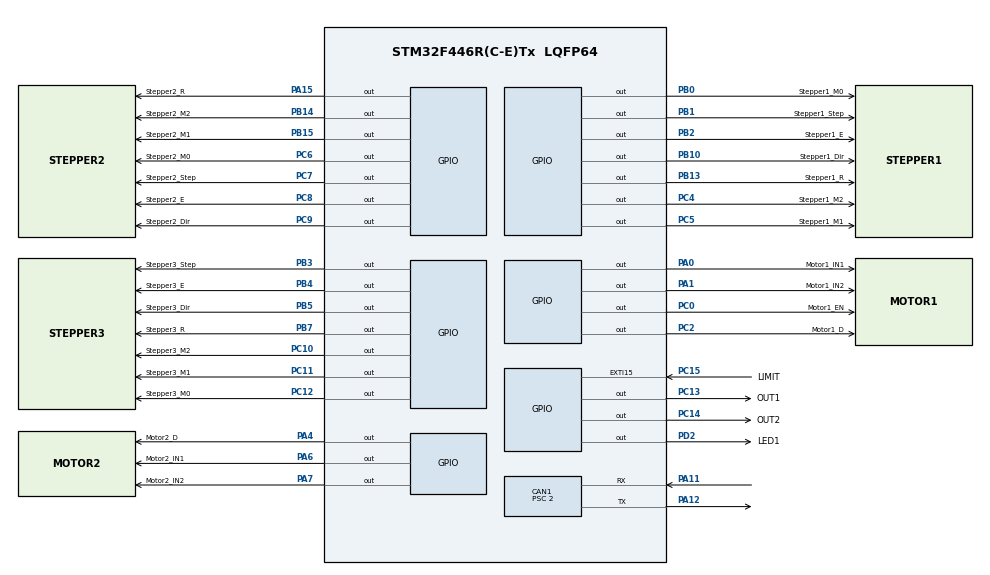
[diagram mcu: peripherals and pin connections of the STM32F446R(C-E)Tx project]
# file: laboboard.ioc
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CAN1.BS1=CAN_BS1_13TQ
CAN1.BS2=CAN_BS2_2TQ
CAN1.CalculateBaudRate=500000
CAN1.CalculateTimeBit=2000
CAN1.CalculateTimeQuantum=125.0
CAN1.NART=ENABLE
CAN1.Prescaler=2
Mcu.Family=STM32F4
Mcu.Name=STM32F446R(C-E)Tx
Mcu.Package=LQFP64
NVIC.CAN1_RX0_IRQn=true\:0\:0\:false\:false\:true\:true\:true\:true
NVIC.CAN1_RX1_IRQn=true\:0\:0\:false\:false\:true\:true\:true\:true
NVIC.CAN1_TX_IRQn=true\:0\:0\:false\:false\:true\:true\:true\:true
NVIC.EXTI15_10_IRQn=true\:3\:0\:true\:false\:true\:true\:true\:true
NVIC.PriorityGroup=NVIC_PRIORITYGROUP_4
NVIC.TIM2_IRQn=true\:0\:0\:false\:false\:true\:true\:true\:true
NVIC.TIM3_IRQn=true\:0\:0\:false\:false\:true\:true\:true\:true
NVIC.TIM4_IRQn=true\:0\:0\:false\:false\:true\:true\:true\:true
NVIC.TIM7_IRQn=true\:0\:0\:false\:false\:true\:true\:true\:true
PA0-WKUP.GPIO_Label=Motor1_IN1
PA0-WKUP.Signal=GPIO_Output
PA1.GPIO_Label=Motor1_IN2
PA1.Signal=GPIO_Output
PA11.Mode=CAN_Activate
PA11.Signal=CAN1_RX
PA12.Mode=CAN_Activate
PA12.Signal=CAN1_TX
PA15.GPIO_Label=Stepper2_R
PA15.Signal=GPIO_Output
PA2.GPIO_Label=Motor2_EN
PA2.Signal=S_TIM2_CH3
PA4.GPIO_Label=Motor2_D
PA4.Signal=GPIO_Output
PA6.GPIO_Label=Motor2_IN1
PA6.Signal=GPIO_Output
PA7.GPIO_Label=Motor2_IN2
PA7.Signal=GPIO_Output
PB0.GPIO_Label=Stepper1_M0
PB0.Signal=GPIO_Output
PB1.GPIO_Label=Stepper1_Step
PB1.PinState=GPIO_PIN_SET
PB1.Signal=GPIO_Output
PB10.GPIO_Label=Stepper1_Dir
PB10.Signal=GPIO_Output
PB13.GPIO_Label=Stepper1_R
PB13.Signal=GPIO_Output
PB14.GPIO_Label=Stepper2_M2
PB14.Signal=GPIO_Output
PB15.GPIO_Label=Stepper2_M1
PB15.Signal=GPIO_Output
PB2.GPIO_Label=Stepper1_E
PB2.Signal=GPIO_Output
PB3.GPIO_Label=Stepper3_Step
PB3.Signal=GPIO_Output
PB4.GPIO_Label=Stepper3_E
PB4.Signal=GPIO_Output
PB5.GPIO_Label=Stepper3_Dir
PB5.Signal=GPIO_Output
PB7.GPIO_Label=Stepper3_R
PB7.Signal=GPIO_Output
PC0.GPIO_Label=Motor1_EN
PC0.Signal=GPIO_Output
PC10.GPIO_Label=Stepper3_M2
PC10.Signal=GPIO_Output
PC11.GPIO_Label=Stepper3_M1
PC11.Signal=GPIO_Output
PC12.GPIO_Label=Stepper3_M0
PC12.Signal=GPIO_Output
PC13.GPIO_Label=OUT1
PC13.Signal=GPIO_Output
PC14-OSC32_IN.GPIO_Label=OUT2
PC14-OSC32_IN.Signal=GPIO_Output
PC15-OSC32_OUT.GPIO_Label=LIMIT
PC15-OSC32_OUT.GPIO_ModeDefaultEXTI=GPIO_MODE_IT_RISING_FALLING
PC15-OSC32_OUT.GPIO_PuPd=GPIO_PULLDOWN
PC15-OSC32_OUT.Signal=GPXTI15
PC2.GPIO_Label=Motor1_D
PC2.Signal=GPIO_Output
PC4.GPIO_Label=Stepper1_M2
PC4.Signal=GPIO_Output
PC5.GPIO_Label=Stepper1_M1
PC5.Signal=GPIO_Output
PC6.GPIO_Label=Stepper2_M0
PC6.Signal=GPIO_Output
PC7.GPIO_Label=Stepper2_Step
PC7.Signal=GPIO_Output
PC8.GPIO_Label=Stepper2_E
PC8.Signal=GPIO_Output
PC9.GPIO_Label=Stepper2_Dir
PC9.Signal=GPIO_Output
PD2.GPIO_Label=LED1
PD2.Signal=GPIO_Output
ProjectManager.HeapSize=0x200
ProjectManager.StackSize=0x400
ProjectManager.TargetToolchain=STM32CubeIDE
RCC.CortexFreq_Value=16000000
RCC.USBFreq_Value=96000000
RCC.VCOOutputFreq_Value=192000000
SH.S_TIM2_CH3.0=TIM2_CH3
TIM2.Period=99
TIM2.Prescaler=15
TIM3.Period=50
TIM3.Prescaler=1599
TIM4.Period=1000
TIM4.Prescaler=15
TIM7.Prescaler=16
VP_TIM2_VS_ClockSourceINT.Mode=Internal
VP_TIM3_VS_ClockSourceINT.Mode=Internal
VP_TIM4_VS_ClockSourceINT.Mode=Internal
VP_TIM7_VS_ClockSourceINT.Mode=Enable_Timer
board=custom

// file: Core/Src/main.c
/* USER CODE BEGIN Header */
/**
  ******************************************************************************
  * @file           : main.c
  * @brief          : Main program body
  ******************************************************************************
  * @attention
  *
  * Copyright (c) 2025 STMicroelectronics.
  * All rights reserved.
  *
  * This software is licensed under terms that can be found in the LICENSE file
  * in the root directory of this software component.
  * If no LICENSE file comes with this software, it is provided AS-IS.
  *
  ******************************************************************************
  */
/* USER CODE END Header */
#include "main.h"
#include "can.h"
#include "tim.h"
#include "gpio.h"

void SystemClock_Config(void);

/* USER CODE BEGIN 0 */

void stepperConfig()
{
	HAL_Delay(10);
	//Stepper1 config
	HAL_GPIO_WritePin(Stepper1_R_GPIO_Port,Stepper1_R_Pin,GPIO_PIN_SET);
	HAL_GPIO_WritePin(Stepper1_Dir_GPIO_Port,Stepper1_Dir_Pin,GPIO_PIN_RESET);
	HAL_GPIO_WritePin(Stepper1_E_GPIO_Port,Stepper1_E_Pin,GPIO_PIN_RESET);//0- enable
	HAL_GPIO_WritePin(Stepper1_M0_GPIO_Port,Stepper1_M0_Pin,GPIO_PIN_SET);//110 - 1/8 stepping
	HAL_GPIO_WritePin(Stepper1_M1_GPIO_Port,Stepper1_M1_Pin,GPIO_PIN_SET);
	HAL_GPIO_WritePin(Stepper1_M2_GPIO_Port,Stepper1_M2_Pin,GPIO_PIN_RESET);
	//Stepper2 config
	HAL_GPIO_WritePin(Stepper2_R_GPIO_Port,Stepper2_R_Pin,GPIO_PIN_SET);
	HAL_GPIO_WritePin(Stepper2_Dir_GPIO_Port,Stepper2_Dir_Pin,GPIO_PIN_RESET);
	HAL_GPIO_WritePin(Stepper2_E_GPIO_Port,Stepper2_E_Pin,GPIO_PIN_RESET);//0- enable
	HAL_GPIO_WritePin(Stepper2_M0_GPIO_Port,Stepper2_M0_Pin,GPIO_PIN_SET);//110 - 1/8 stepping
	HAL_GPIO_WritePin(Stepper2_M1_GPIO_Port,Stepper2_M1_Pin,GPIO_PIN_SET);
	HAL_GPIO_WritePin(Stepper2_M2_GPIO_Port,Stepper2_M2_Pin,GPIO_PIN_RESET);
	//Stepper2 config
	HAL_GPIO_WritePin(Stepper3_R_GPIO_Port,Stepper3_R_Pin,GPIO_PIN_SET);
	HAL_GPIO_WritePin(Stepper3_Dir_GPIO_Port,Stepper3_Dir_Pin,GPIO_PIN_RESET);
	HAL_GPIO_WritePin(Stepper3_E_GPIO_Port,Stepper3_E_Pin,GPIO_PIN_RESET);//0- enable
	HAL_GPIO_WritePin(Stepper3_M0_GPIO_Port,Stepper3_M0_Pin,GPIO_PIN_SET);//110 - 1/8 stepping
	HAL_GPIO_WritePin(Stepper3_M1_GPIO_Port,Stepper3_M1_Pin,GPIO_PIN_SET);
	HAL_GPIO_WritePin(Stepper3_M2_GPIO_Port,Stepper3_M2_Pin,GPIO_PIN_RESET);
	HAL_GPIO_WritePin(LED1_GPIO_Port,LED1_Pin, GPIO_PIN_SET);
}

void dcConfig()
{
	HAL_GPIO_WritePin(Motor1_EN_GPIO_Port,Motor1_EN_Pin,GPIO_PIN_SET);
	HAL_GPIO_WritePin(Motor2_EN_GPIO_Port,Motor2_EN_Pin,GPIO_PIN_SET);
}
/* USER CODE END 0 */

int main(void)
{

  /* MCU Configuration--------------------------------------------------------*/

  /* Reset of all peripherals, Initializes the Flash interface and the Systick. */
  HAL_Init();

  /* USER CODE BEGIN Init */
  HAL_NVIC_DisableIRQ(TIM2_IRQn);
  HAL_NVIC_DisableIRQ(TIM3_IRQn);
  //HAL_NVIC_DisableIRQ(TIM3_IRQn);
  /* USER CODE END Init */

  /* Configure the system clock */
  SystemClock_Config();

  /* Initialize all configured peripherals */
  MX_GPIO_Init();
  MX_CAN1_Init();
  MX_TIM2_Init();
  MX_TIM7_Init();
  MX_TIM3_Init();
  MX_TIM4_Init();
  /* USER CODE BEGIN 2 */
  Motor_init();
  /* USER CODE END 2 */

  /* Infinite loop */
  /* USER CODE BEGIN WHILE */
  stepperConfig();
  dcConfig();

  while (1)
  {

    /* USER CODE END WHILE */

  }
}

void SystemClock_Config(void)
{
  RCC_OscInitTypeDef RCC_OscInitStruct = {0};
  RCC_ClkInitTypeDef RCC_ClkInitStruct = {0};

  /** Configure the main internal regulator output voltage
  */
  __HAL_RCC_PWR_CLK_ENABLE();
  __HAL_PWR_VOLTAGESCALING_CONFIG(PWR_REGULATOR_VOLTAGE_SCALE3);

  /** Initializes the RCC Oscillators according to the specified parameters
  * in the RCC_OscInitTypeDef structure.
  */
  RCC_OscInitStruct.OscillatorType = RCC_OSCILLATORTYPE_HSI;
  RCC_OscInitStruct.HSIState = RCC_HSI_ON;
  RCC_OscInitStruct.HSICalibrationValue = RCC_HSICALIBRATION_DEFAULT;
  RCC_OscInitStruct.PLL.PLLState = RCC_PLL_NONE;
  if (HAL_RCC_OscConfig(&RCC_OscInitStruct) != HAL_OK)
  {
    Error_Handler();
  }

  /** Initializes the CPU, AHB and APB buses clocks
  */
  RCC_ClkInitStruct.ClockType = RCC_CLOCKTYPE_HCLK|RCC_CLOCKTYPE_SYSCLK
                              |RCC_CLOCKTYPE_PCLK1|RCC_CLOCKTYPE_PCLK2;
  RCC_ClkInitStruct.SYSCLKSource = RCC_SYSCLKSOURCE_HSI;
  RCC_ClkInitStruct.AHBCLKDivider = RCC_SYSCLK_DIV1;
  RCC_ClkInitStruct.APB1CLKDivider = RCC_HCLK_DIV1;
  RCC_ClkInitStruct.APB2CLKDivider = RCC_HCLK_DIV1;

  if (HAL_RCC_ClockConfig(&RCC_ClkInitStruct, FLASH_LATENCY_0) != HAL_OK)
  {
    Error_Handler();
  }
}

void Error_Handler(void)
{
  __disable_irq();
  while (1)
  {
  }
}
